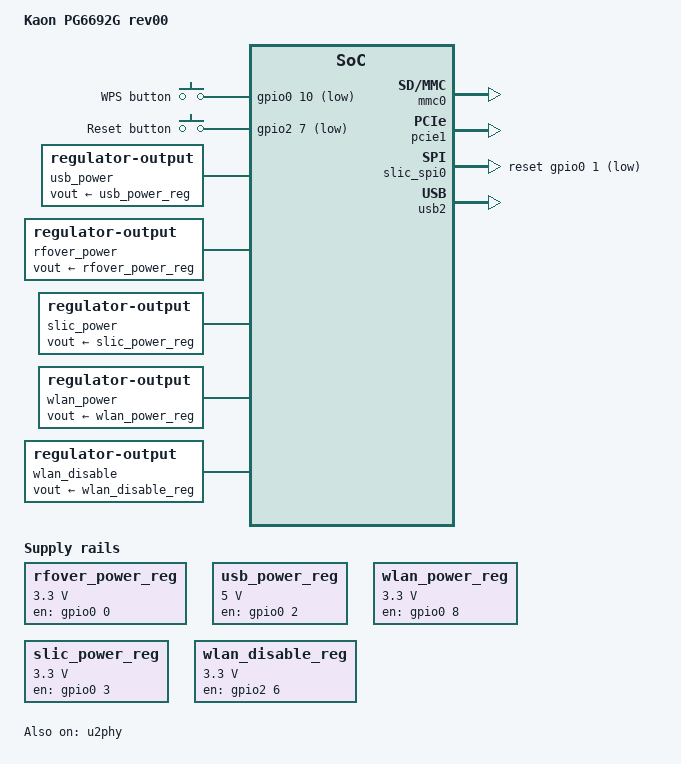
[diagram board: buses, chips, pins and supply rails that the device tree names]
// SPDX-License-Identifier: GPL-2.0
/*
 * dts file for the Kaon PG6692G rev00 board
 *
 * Copyright (C) 2023 KAON Media Co Ltd
 *
 */

/dts-v1/;

#include <dt-bindings/input/input.h>

#include "ca8289-kaon-common.dtsi"
#include <ca8289/ca8289-led.dtsi>
#include <ca8289-eng-voip.dts>

/ {
	model = "Kaon PG6692G rev00";
	compatible = "kaon,pg6692g-rev00", "cortina-access,ca8189v", "cortina-access,venus";

	reserved-memory {
		qcn9200_reserved_0: qcn9200_reserved_0@10000000 {
			no-map;
			reg = <0x0 0x10000000 0x0 0x03100000>; /* 49MB reserved */
		};

		qca_pe_share_memory: qca_pe_share_memory {
			no-map;
			reg = <0x0 0x16000000 0x0 0x00C00000>;
		};

		ni_ddr_reserved: pe_ddr_buffer@19000000 {
			reg = <0x0 0x19000000 0x0 0x03000000>;  /* 48MB reserved */
		};

		mhi_reserved_0: shared-dma-pool@0 {
			compatible = "shared-dma-pool";
			no-map;
			size = <0x0 0x00900000>;
			status = "okay";
		};

		mlo_global_mem_0: mlo_global_mem_0@0 {
			no-map;
			size = <0x0 0x1100000>; /* 17MB */
		};
	};

	gpio-keys {
		compatible = "gpio-keys";
		#address-cells = <1>;
		#size-cells = <0>;

		wps-button {
			label = "WPS button";
			linux,code = <KEY_WPS_BUTTON>;
			gpios = <&gpio0 10 GPIO_ACTIVE_LOW>;
		};

		reset-button {
			label = "Reset button";
			linux,code = <KEY_RESTART>;
			gpios = <&gpio2 7 GPIO_ACTIVE_LOW>;
		};
	};

	ethernet@f4300000 {
		/delete-property/ rtl8221_reset-gpio;
	};

	rfover_power_reg: rfover_power_reg {
		compatible = "regulator-fixed";
		regulator-name = "rfover_power";
		regulator-min-microvolt = <3300000>;
		regulator-max-microvolt = <3300000>;
		gpio = <&gpio0 0 GPIO_ACTIVE_HIGH>;
		enable-active-high;
		regulator-boot-on;
	};

	usb_power_reg: usb_power_reg {
		compatible = "regulator-fixed";
		regulator-name = "usb_power";
		regulator-min-microvolt = <5000000>;
		regulator-max-microvolt = <5000000>;
		gpio = <&gpio0 2 GPIO_ACTIVE_HIGH>;
		enable-active-high;
		regulator-boot-on;
	};

	wlan_power_reg: wlan_power_reg {
		compatible = "regulator-fixed";
		regulator-name = "wlan_power";
		regulator-min-microvolt = <3300000>;
		regulator-max-microvolt = <3300000>;
		gpio = <&gpio0 8 GPIO_ACTIVE_HIGH>;
		enable-active-high;
		regulator-boot-on;
	};

	slic_power_reg: slic_power_reg {
		compatible = "regulator-fixed";
		regulator-name = "slic_power";
		regulator-min-microvolt = <3300000>;
		regulator-max-microvolt = <3300000>;
		gpio = <&gpio0 3 GPIO_ACTIVE_HIGH>;
		enable-active-high;
		regulator-boot-on;
	};

	wlan_disable_reg: wlan_disable_reg {
		compatible = "regulator-fixed";
		regulator-name = "wlan_disable";
		regulator-min-microvolt = <3300000>;
		regulator-max-microvolt = <3300000>;
		gpio = <&gpio2 6 GPIO_ACTIVE_HIGH>;
		enable-active-high;
		regulator-boot-on;
	};

	usb_power {
		compatible = "regulator-output";
		vout-supply = <&usb_power_reg>;
	};

	rfover_power {
		compatible = "regulator-output";
		vout-supply = <&rfover_power_reg>;
	};

	slic_power {
		compatible = "regulator-output";
		vout-supply = <&slic_power_reg>;
	};

	wlan_power {
		compatible = "regulator-output";
		vout-supply = <&wlan_power_reg>;
	};

	wlan_disable {
		compatible = "regulator-output";
		vout-supply = <&wlan_disable_reg>;
	};
};

&i2c {
	/delete-node/ i2c-switch@70;
	/delete-node/ pgpio@73;
};

&pinctrl {
	pinctrl-names = "default";
	pinctrl-0 = <&mmc_ctrl_default>;
};

&mmc_ctrl_default {
	  data_signals {
		  function = "gpio";
	  };
};

&mmc0 {
	status = "okay";
	/delete-property/ mmc-hs200-1_8v;
	sd-uhs-sdr50;
};

&pcie1 {
	status = "okay";

	linux,pci-domain = <0>;

	pcie1_rp: pcie1_rp {
		reg = <0 0 0 0 0>;
		status = "okay";

		wsi:wsi {
			id = <0>;
			num_chip = <1>;
			chip_info = <0x0 0x0>;
		};

		mhi_0: qcom,mhi@0 {
			reg = <0 0 0 0 0 >;
			#address-cells = <0x2>;
			#size-cells = <0x2>;
			qti,disable-rddm-prealloc;
			qti,rddm-seg-len = <0x1000>;
			memory-region = <&qcn9200_reserved_0>, <&mhi_reserved_0>;
			qrtr_instance_id = <0x30>;
			qcom,board_id= <0x1010>; /*1st 2G and 2nd 5G*/
			qcom,no-eeprom;
			qcom,use-caldata-mac;
			qcom,wsi_index = <0x0>;
			qcom,wsi = <&wsi>;
			qcom,nss_nodid = <0x30>;
			pcie0_mhi: pcie0_mhi {
				status = "okay";
			};
		};
	};
};

&slic_spi0 {
	reset-gpios = <&gpio0 1 GPIO_ACTIVE_LOW>;
	cortina-access,isam-mode;
	cortina-access,cs-word;
};

&usb2 {
	status = "okay";
};

&u2phy {
	status = "okay";

	u2port0-vbus-gpio = <&gpio0 4 GPIO_ACTIVE_HIGH>;

	u2portmask = <0x4>; /* USB2 port2 only */
	u3portmask = <0>; /* no USB3 ports */
};

DISABLE_NODE(&usb3);
DISABLE_NODE(&u3phy);

DISABLE_NODE(&led0);
DISABLE_NODE(&led1);
DISABLE_NODE(&led2);
DISABLE_NODE(&led3);
DISABLE_NODE(&led4);
DISABLE_NODE(&led5);
DISABLE_NODE(&led6);
DISABLE_NODE(&led7);
DISABLE_NODE(&led8);
DISABLE_NODE(&led9);


#define SW_LED_CTRL(_name)              \
_name {                                 \
        hw-blink-rate1 = <100>;         \
        hw-blink-rate2 = <500>;         \
}

#define SW_LED(_name, _label)           \
_name {                                 \
        label = _label;                 \
        active-low;                     \
        default-state = "off";          \
        on,sw;                          \
}

#define SW_LED_BLINKING(_name, _label)  \
_name {                                 \
        label = _label;                 \
        active-low;                     \
        default-state = "on";           \
        blink-rate1;                    \
        blinking,sw;                    \
        on,sw;                          \
}

SW_LED_CTRL(&led_ctrl);

SW_LED(&led10, "phone:white");
SW_LED(&led11, "phone:amber");
SW_LED(&led12, "wifi:white");
SW_LED(&led13, "wifi:amber");
SW_LED_BLINKING(&led14, "internet:white");
SW_LED(&led15, "internet:amber");

